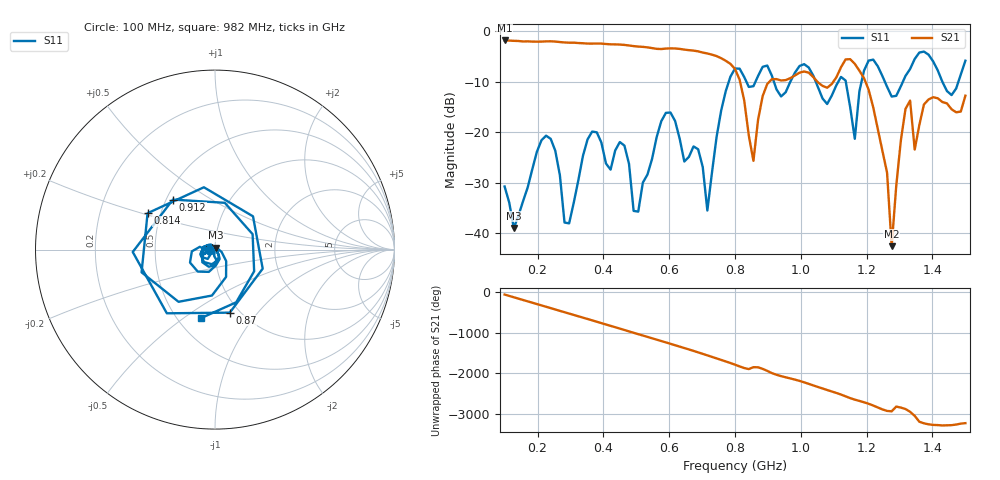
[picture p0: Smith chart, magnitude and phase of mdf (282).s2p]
! NanoVNA-App
! Date: 2025-09-25 15:40:37
! Start: 100MHz Stop: 1,5GHz Points: 101
! S-Parameter data: F S11 S21 S12 S22
# Hz S RI R 50
!  Frequency  S11_Real  S11_Imag  S21_Real  S21_Imag  S12_Real  S12_Imag  S22_Real  S22_Imag
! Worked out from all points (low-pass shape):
!   101 points, 100 MHz to 1.5 GHz, reference 50 ohm
!   highest |S21| = -1.80 dB at 100 MHz (marker M1); lowest = -42.6 dB at 1.276 GHz (marker M2)
!   |S21| within 3 dB of the highest: start of sweep to 739.2 MHz
!   lowest |S11| = -39.0 dB at 128 MHz (marker M3), VSWR 1.02, Z = 50.3 + j1.08 ohm
!   |S11| at or under -10 dB: start of sweep to 781 MHz; 1.045 GHz to 1.114 GHz (68.26 MHz wide, 6.32 % of centre); 1.255 GHz to 1.31 GHz (54.48 MHz wide, 4.25 % of centre) (the widest 3 of 7)
!   S12 and S22 are empty: the file has one direction only
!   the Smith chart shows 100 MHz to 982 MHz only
!   S11 on the Smith chart (normalised r, x): 100 MHz: 0.94, -0.01; 814 MHz: 0.42, +0.21; 870 MHz: 0.90, -0.73; 912 MHz: 0.54, +0.35; 982 MHz: 0.65, -0.58
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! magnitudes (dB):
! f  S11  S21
! 100 MHz  -30.8  -1.8
! 128 MHz  -39.0  -1.9
! 212 MHz  -21.6  -2.0
! 282 MHz  -37.9  -2.2
! 338 MHz  -24.7  -2.4
! 464 MHz  -22.6  -2.7
! 506 MHz  -35.7  -3.0
! 576 MHz  -17.8  -3.5
! 716 MHz  -35.5  -4.4
! 800 MHz  -7.4  -7.5
! 814 MHz  -7.4  -9.6
! 856 MHz  -10.9  -25.7
! 870 MHz  -8.9  -17.6
! 912 MHz  -8.8  -9.5
! 982 MHz  -8.2  -8.7
! 1.038 GHz  -8.8  -9.1
! 1.164 GHz  -21.3  -6.4
! 1.192 GHz  -7.8  -9.3
! 1.262 GHz  -11.0  -28.0
! 1.276 GHz  -12.9  -42.6
! 1.318 GHz  -8.8  -15.4
! 1.5 GHz  -5.8  -12.8
